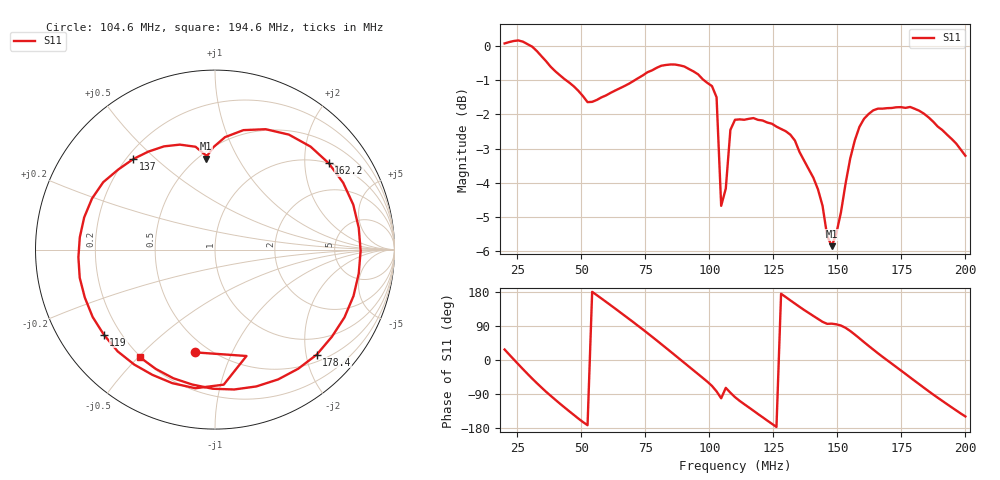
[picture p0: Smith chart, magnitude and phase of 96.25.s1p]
# HZ S RI R 50
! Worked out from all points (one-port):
!   101 points, 20 MHz to 200 MHz, reference 50 ohm
!   lowest |S11| = -5.9 dB at 147.8 MHz (marker M1), VSWR 3.07, Z = 27.2 + j37.1 ohm
!   |S11| at or under -10 dB: nowhere
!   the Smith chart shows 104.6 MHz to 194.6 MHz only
!   S11 on the Smith chart (normalised r, x): 104.6 MHz: 0.42, -0.73; 119 MHz: 0.14, -0.33; 137 MHz: 0.23, +0.43; 162.2 MHz: 1.00, +2.63; 178.4 MHz: 0.63, -2.21; 194.6 MHz: 0.20, -0.51
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2e7  0.8945 0.4685
2.54e7  0.9992 -0.2052
3.26e7  0.4761 -0.8612
3.8e7  -0.0717 -0.9305
4.34e7  -0.5144 -0.7326
5.42e7  -0.8289 0.0015
6.5e7  -0.5165 0.6973
7.58e7  0.2977 0.8664
8.3e7  0.7951 0.4993
8.84e7  0.9368 0.0391
9.38e7  0.8158 -0.4223
1.01e8  0.3221 -0.8128
1.028e8  0.1054 -0.8352
1.046e8  -0.1118 -0.5725
1.064e8  0.1754 -0.5928
1.1e8  -0.1092 -0.7725
1.19e8  -0.6198 -0.4735
1.262e8  -0.7611 -0.043
1.334e8  -0.6229 0.3755
1.37e8  -0.4549 0.5048
1.478e8  -0.0522 0.5063
1.55e8  0.1583 0.6656
1.622e8  0.6331 0.4817
1.694e8  0.8114 -0.00613
1.784e8  0.567 -0.585
1.856e8  0.1069 -0.7794
1.946e8  -0.4168 -0.601
2e8  -0.5923 -0.3556
